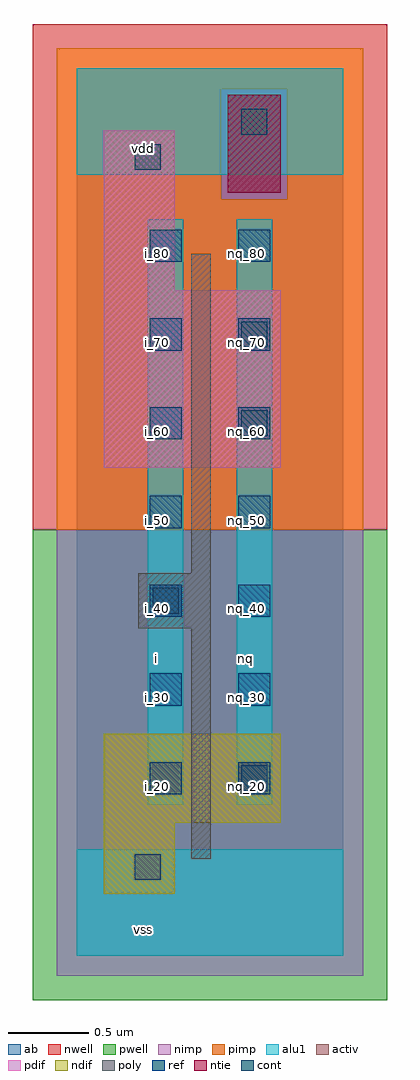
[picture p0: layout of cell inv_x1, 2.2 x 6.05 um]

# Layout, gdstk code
import gdstk
lib = gdstk.Library(unit=1e-6, precision=2.5e-09)
def R(c, l, rs):  # rectangles x0, y0, x1, y1
    for r in rs: c.add(gdstk.rectangle(r[:2], r[2:], *l))
def A(c, l, x, y, w, h, nx, ny, dx, dy):  # array of equal rectangles
    R(c, l, [(x+i*dx, y+j*dy, x+i*dx+w, y+j*dy+h) for i in range(nx) for j in range(ny)])
ndif = (3, 0)
pdif = (4, 0)
ntie = (5, 0)
ref = (24, 0)
cont = (25, 0)
pwell = (41, 0)
nwell = (42, 0)
activ = (43, 0)
pimp = (44, 0)
nimp = (45, 0)
poly = (46, 0)
alu1 = (49, 0)
ab = (63, 0)

inv_x1 = lib.new_cell('inv_x1')
R(inv_x1, ndif, [(0.165,0.385,0.605,0.825), (0.165,0.825,1.265,1.375)])
R(inv_x1, pdif, [(0.165,3.025,1.265,4.125), (0.165,4.125,0.605,5.115)])
R(inv_x1, ntie, [(0.935,4.73,1.265,5.335)])
A(inv_x1, ref, 0.45, 1, 0.2, 0.2, 1, 7, 0, 0.55)
A(inv_x1, ref, 1, 1, 0.2, 0.2, 1, 7, 0, 0.55)
R(inv_x1, cont, [(0.36,0.47,0.52,0.63), (1.02,1.02,1.18,1.18), (0.47,2.12,0.63,2.28), (1.02,3.22,1.18,3.38), (1.02,3.77,1.18,3.93), (0.36,4.87,0.52,5.03), (1.02,5.09,1.18,5.25)])
R(inv_x1, pwell, [(-0.275,-0.275,1.925,2.64)])
R(inv_x1, nwell, [(-0.275,2.64,1.925,5.775)])
R(inv_x1, activ, [(0.165,0.385,0.605,0.825), (0.165,0.825,1.265,1.375), (0.165,3.025,1.265,4.125), (0.165,4.125,0.605,5.115), (0.935,4.73,1.265,5.335)])
R(inv_x1, pimp, [(-0.125,2.64,1.775,4.69), (-0.125,4.69,0.895,5.375), (1.305,4.69,1.775,5.375), (-0.125,5.375,1.775,5.625)])
R(inv_x1, nimp, [(-0.125,-0.125,1.775,2.64), (0.895,4.69,1.305,5.375)])
R(inv_x1, poly, [(0.71,0.6,0.83,2.03), (0.38,2.03,0.83,2.37), (0.71,2.37,0.83,4.35)])
R(inv_x1, alu1, [(0,0,1.65,0.66), (0.44,0.935,0.66,4.565), (0.99,0.935,1.21,4.565), (0,4.84,1.65,5.5)])
R(inv_x1, ab, [(0,0,1.65,5.5)])
inv_x1.add(gdstk.Label('vss', (0.4125,0.165), layer=49, texttype=0))
inv_x1.add(gdstk.Label('nq', (1.045,1.8425), layer=49, texttype=0))
inv_x1.add(gdstk.Label('i', (0.495,1.8425), layer=49, texttype=0))
inv_x1.add(gdstk.Label('vdd', (0.4125,5.005), layer=49, texttype=0))
inv_x1.add(gdstk.Label('nq_80', (1.05,4.35), layer=24, texttype=0))
inv_x1.add(gdstk.Label('nq_70', (1.05,3.8), layer=24, texttype=0))
inv_x1.add(gdstk.Label('nq_60', (1.05,3.25), layer=24, texttype=0))
inv_x1.add(gdstk.Label('nq_50', (1.05,2.7), layer=24, texttype=0))
inv_x1.add(gdstk.Label('nq_40', (1.05,2.15), layer=24, texttype=0))
inv_x1.add(gdstk.Label('nq_30', (1.05,1.6), layer=24, texttype=0))
inv_x1.add(gdstk.Label('nq_20', (1.05,1.05), layer=24, texttype=0))
inv_x1.add(gdstk.Label('i_20', (0.5,1.05), layer=24, texttype=0))
inv_x1.add(gdstk.Label('i_30', (0.5,1.6), layer=24, texttype=0))
inv_x1.add(gdstk.Label('i_40', (0.5,2.15), layer=24, texttype=0))
inv_x1.add(gdstk.Label('i_50', (0.5,2.7), layer=24, texttype=0))
inv_x1.add(gdstk.Label('i_60', (0.5,3.25), layer=24, texttype=0))
inv_x1.add(gdstk.Label('i_70', (0.5,3.8), layer=24, texttype=0))
inv_x1.add(gdstk.Label('i_80', (0.5,4.35), layer=24, texttype=0))

lib.write_gds('inv_x1.gds')
